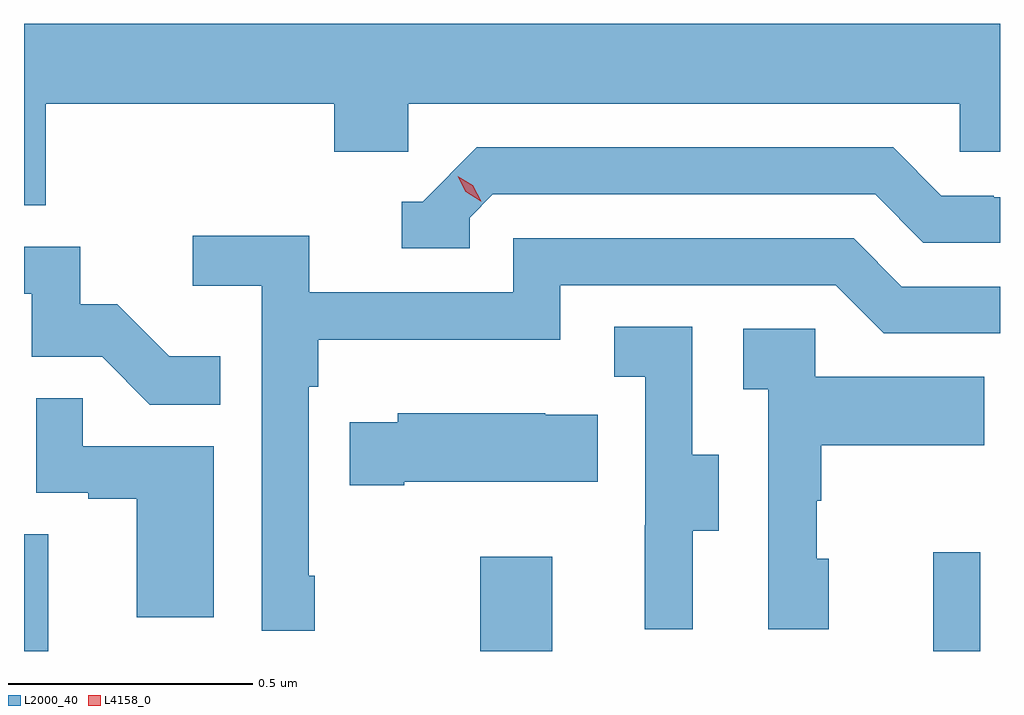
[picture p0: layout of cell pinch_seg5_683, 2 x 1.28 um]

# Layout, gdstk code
import gdstk
lib = gdstk.Library(unit=1e-6, precision=1e-09)
def R(c, l, rs):  # rectangles x0, y0, x1, y1
    for r in rs: c.add(gdstk.rectangle(r[:2], r[2:], *l))
def P(c, l, *ps):  # polygons
    for p in ps: c.add(gdstk.Polygon(p, *l))
L2000_40 = (2000, 40)
L4158_0 = (4158, 0)

pinch_seg5_683 = lib.new_cell('pinch_seg5_683')
R(pinch_seg5_683, L2000_40, [(1028.915,843.651,1028.965,843.89), (1029.85,843.651,1029.997,843.844), (1030.778,843.651,1030.875,843.853)])
P(pinch_seg5_683, L2000_40, [(1028.96,844.772),(1029.551,844.772),(1029.551,844.674),(1029.702,844.674),(1029.702,844.772),(1030.833,844.772),(1030.833,844.674),(1030.915,844.674),(1030.915,844.936),(1028.915,844.936),(1028.915,844.564),(1028.96,844.564)],
  [(1029.828,844.539),(1029.876,844.587),(1030.659,844.587),(1030.758,844.488),(1030.915,844.488),(1030.915,844.581),(1030.902,844.581),(1030.902,844.584),(1030.795,844.584),(1030.696,844.683),(1029.843,844.683),(1029.732,844.572),(1029.689,844.572),(1029.689,844.476),(1029.828,844.476)],
  [(1029.511,843.805),(1029.498,843.805),(1029.498,844.193),(1029.518,844.193),(1029.518,844.289),(1030.014,844.289),(1030.014,844.401),(1030.578,844.401),(1030.677,844.302),(1030.915,844.302),(1030.915,844.398),(1030.714,844.398),(1030.615,844.497),(1029.918,844.497),(1029.918,844.386),(1029.5,844.386),(1029.5,844.502),(1029.261,844.502),(1029.261,844.4),(1029.402,844.4),(1029.402,843.693),(1029.511,843.693)],
  [(1029.317,844.255),(1029.213,844.255),(1029.106,844.362),(1029.03,844.362),(1029.03,844.479),(1028.915,844.479),(1028.915,844.383),(1028.931,844.383),(1028.931,844.254),(1029.075,844.254),(1029.173,844.156),(1029.317,844.156)],
  [(1030.285,843.898),(1030.339,843.898),(1030.339,844.053),(1030.284,844.053),(1030.284,844.316),(1030.125,844.316),(1030.125,844.213),(1030.188,844.213),(1030.188,843.909),(1030.187,843.909),(1030.187,843.696),(1030.285,843.696)],
  [(1030.564,843.84),(1030.539,843.84),(1030.539,843.959),(1030.549,843.959),(1030.549,844.073),(1030.883,844.073),(1030.883,844.213),(1030.536,844.213),(1030.536,844.311),(1030.389,844.311),(1030.389,844.187),(1030.44,844.187),(1030.44,843.696),(1030.564,843.696)],
  [(1029.304,844.071),(1029.035,844.071),(1029.035,844.169),(1028.94,844.169),(1028.94,843.975),(1029.047,843.975),(1029.047,843.963),(1029.146,843.963),(1029.146,843.72),(1029.304,843.72)],
  [(1029.694,843.998),(1030.091,843.998),(1030.091,844.135),(1029.983,844.135),(1029.983,844.138),(1029.681,844.138),(1029.681,844.12),(1029.583,844.12),(1029.583,843.991),(1029.694,843.991)])
P(pinch_seg5_683, L4158_0, [(1029.851,844.573),(1029.82,844.592),(1029.804,844.624),(1029.804,844.624),(1029.804,844.624),(1029.835,844.605),(1029.852,844.573),(1029.852,844.573)])

lib.write_gds('pinch_seg5_683.gds')
